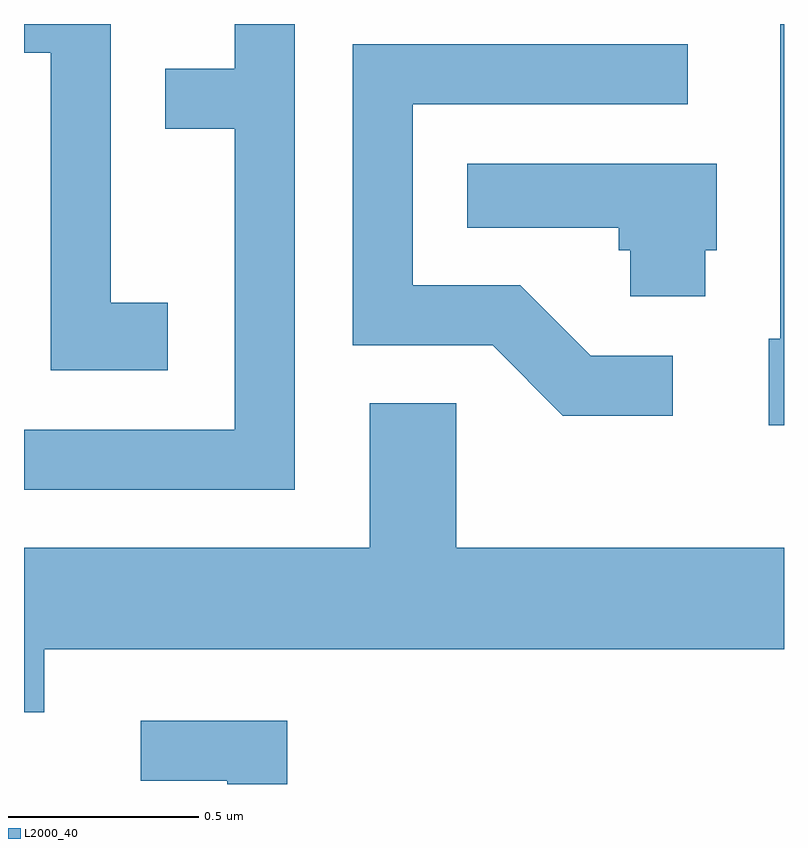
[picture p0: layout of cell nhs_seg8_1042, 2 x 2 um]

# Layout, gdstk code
import gdstk
lib = gdstk.Library(unit=1e-6, precision=1e-09)
def P(c, l, *ps):  # polygons
    for p in ps: c.add(gdstk.Polygon(p, *l))
L2000_40 = (2000, 40)

nhs_seg8_1042 = lib.new_cell('nhs_seg8_1042')
P(nhs_seg8_1042, L2000_40, [(193.324,1891.342),(193.166,1891.342),(193.166,1891.224),(192.983,1891.224),(192.983,1891.066),(193.166,1891.066),(193.166,1890.274),(192.611,1890.274),(192.611,1890.116),(193.324,1890.116)],
  [(194.611,1891.342),(194.601,1891.342),(194.601,1890.514),(194.571,1890.514),(194.571,1890.286),(194.611,1890.286)],
  [(192.989,1890.609),(192.839,1890.609),(192.839,1891.342),(192.611,1891.342),(192.611,1891.266),(192.681,1891.266),(192.681,1890.431),(192.989,1890.431)],
  [(194.318,1890.469),(194.102,1890.469),(193.917,1890.654),(193.634,1890.654),(193.634,1891.131),(194.358,1891.131),(194.358,1891.289),(193.476,1891.289),(193.476,1890.496),(193.844,1890.496),(194.029,1890.311),(194.318,1890.311)],
  [(194.404,1890.746),(194.434,1890.746),(194.434,1890.974),(193.778,1890.974),(193.778,1890.806),(194.176,1890.806),(194.176,1890.746),(194.206,1890.746),(194.206,1890.626),(194.404,1890.626)],
  [(192.664,1889.696),(194.611,1889.696),(194.611,1889.964),(193.749,1889.964),(193.749,1890.344),(193.521,1890.344),(193.521,1889.964),(192.611,1889.964),(192.611,1889.531),(192.664,1889.531)],
  [(193.304,1889.509),(192.918,1889.509),(192.918,1889.351),(193.146,1889.351),(193.146,1889.342),(193.304,1889.342)])

lib.write_gds('nhs_seg8_1042.gds')
